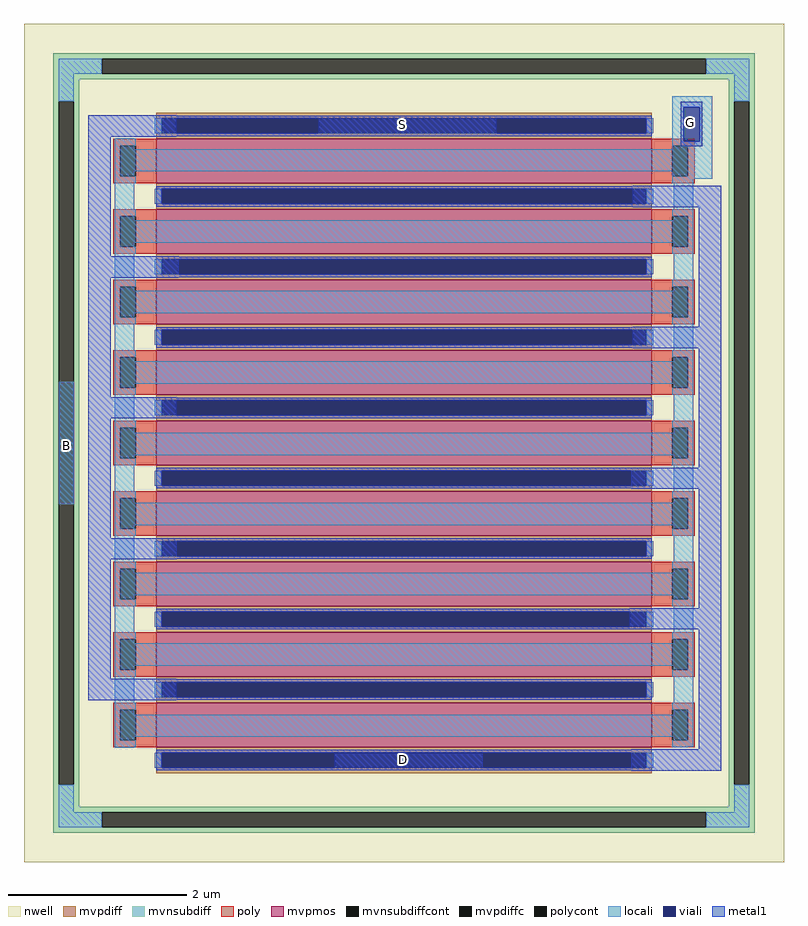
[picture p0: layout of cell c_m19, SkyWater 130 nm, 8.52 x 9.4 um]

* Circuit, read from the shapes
.subckt c_m19 D G S B
XM1 S G D B sky130_fd_pr__pfet_g5v0d10v5 w=5.55 l=0.5 m=9
.ends

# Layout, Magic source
magic
tech sky130A
magscale 1 2
<< locali >>
rect 1359 1598 1448 1622
rect 108 1504 152 1528
rect 1359 1522 1384 1598
rect 1420 1522 1448 1598
rect 1359 1504 1448 1522
rect 108 1454 1448 1504
rect 108 1344 152 1454
rect 1359 1438 1448 1454
rect 1362 1344 1406 1438
rect 108 1294 1406 1344
rect 108 1186 152 1294
rect 1362 1186 1406 1294
rect 108 1136 1406 1186
rect 108 1028 152 1136
rect 1362 1028 1406 1136
rect -16 708 16 982
rect 108 978 1406 1028
rect 108 868 152 978
rect 1362 868 1406 978
rect 108 818 1406 868
rect 108 711 152 818
rect 1362 711 1406 818
rect 108 661 1406 711
rect 108 554 152 661
rect 1362 554 1406 661
rect 108 504 1406 554
rect 108 396 152 504
rect 1362 396 1406 504
rect 108 346 1406 396
rect 108 236 152 346
rect 1362 236 1406 346
rect 108 186 1406 236
rect 108 162 152 186
rect 1362 164 1406 186
<< viali >>
rect 1384 1522 1420 1598
<< metal1 >>
rect 1378 1598 1426 1610
rect 49 1532 246 1580
rect 566 1536 964 1574
rect 49 1264 99 1532
rect 1378 1522 1384 1598
rect 1420 1522 1426 1598
rect 1378 1510 1426 1522
rect 1270 1374 1468 1422
rect 49 1216 252 1264
rect 49 948 99 1216
rect 1418 1106 1468 1374
rect 1270 1058 1468 1106
rect 49 900 246 948
rect 49 632 99 900
rect 1418 790 1468 1058
rect 1266 742 1468 790
rect 49 584 248 632
rect 49 316 99 584
rect 1418 475 1468 742
rect 1263 427 1468 475
rect 49 268 246 316
rect 1418 158 1468 427
rect 602 114 934 148
rect 1266 110 1468 158
use sky130_fd_pr__pfet_g5v0d10v5_KK3R6B  sky130_fd_pr__pfet_g5v0d10v5_KK3R6B_0
transform 0 1 757 -1 0 845
box -940 -852 940 852
<< labels >>
flabel metal1 756 136 756 136 0 FreeSans 800 0 0 0 D
port 0 nsew
flabel viali 1400 1564 1400 1564 0 FreeSans 800 0 0 0 G
port 1 nsew
flabel metal1 754 1558 754 1558 0 FreeSans 800 0 0 0 S
port 2 nsew
flabel locali 0 840 0 840 0 FreeSans 800 0 0 0 B
port 3 nsew
<< end >>

# cell sky130_fd_pr__pfet_g5v0d10v5_KK3R6B: kit device sky130_fd_pr__pfet_g5v0d10v5, w 5.55 l 0.5 m 1 nf 9 diffcov 100 polycov 100 guard 1 glc 1 grc 1 gtc 1 gbc 1 tbcov 100 rlcov 100 topc 1 botc 1 poverlap 0 doverlap 1 lmin 0.50 wmin 0.42 class mosfet compatible {sky130_fd_pr__pfet_01v8 sky130_fd_pr__pfet_01v8_lvt sky130_fd_pr__pfet_01v8_hvt sky130_fd_pr__pfet_g5v0d10v5} full_metal 1 conn_gates 0 viasrc 100 viadrn 100 viagate 100 viagb 0 viagr 0 viagl 0 viagt 0 doports 1
